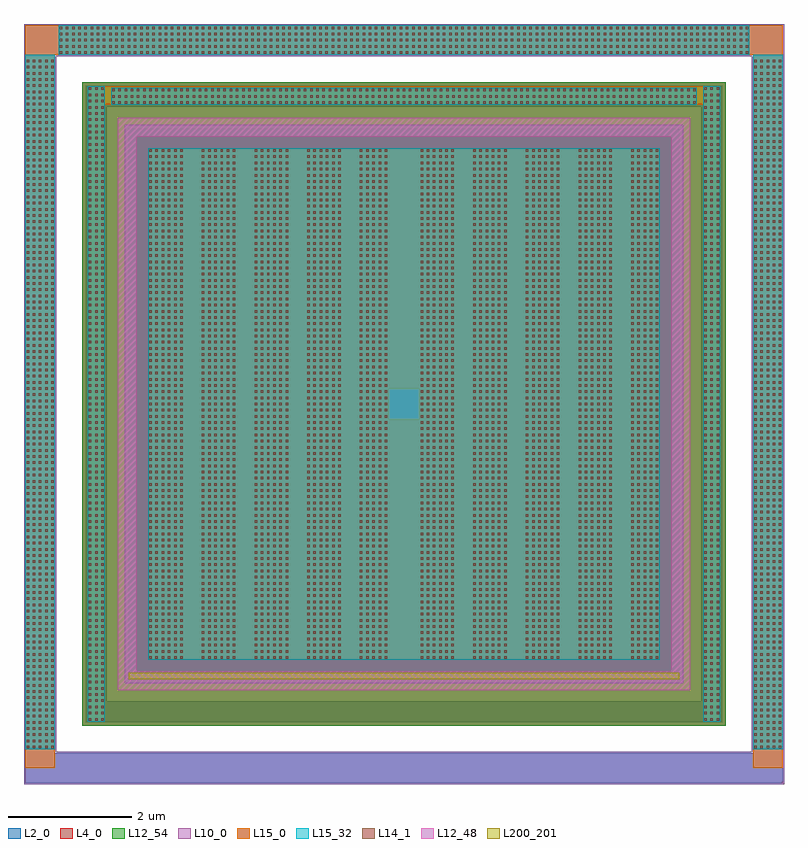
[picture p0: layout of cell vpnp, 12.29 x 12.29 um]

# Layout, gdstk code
import gdstk
lib = gdstk.Library(unit=1e-6, precision=1e-09)
def R(c, l, rs):  # rectangles x0, y0, x1, y1
    for r in rs: c.add(gdstk.rectangle(r[:2], r[2:], *l))
def A(c, l, x, y, w, h, nx, ny, dx, dy):  # array of equal rectangles
    R(c, l, [(x+i*dx, y+j*dy, x+i*dx+w, y+j*dy+h) for i in range(nx) for j in range(ny)])
L2_0 = (2, 0)
L4_0 = (4, 0)
L10_0 = (10, 0)
L12_48 = (12, 48)
L12_54 = (12, 54)
L14_1 = (14, 1)
L15_0 = (15, 0)
L15_32 = (15, 32)
L200_201 = (200, 201)

vpnp = lib.new_cell('vpnp')
R(vpnp, L2_0, [(-12.629,-4.659,-0.377,-4.179), (-12.629,-4.179,-12.149,7.113), (-0.857,-4.179,-0.377,7.113), (-11.649,-3.679,-1.357,-3.339), (-11.649,-3.339,-11.309,6.273), (-1.697,-3.339,-1.357,6.273), (-10.953,-2.983,-2.053,5.917), (-11.649,6.273,-1.357,6.613), (-12.629,7.113,-0.377,7.593)])
R(vpnp, L4_0, [(-11.705,-3.735,-1.301,6.669)])
R(vpnp, L10_0, [(-12.65,-4.68,-0.356,-4.158), (-12.65,-4.158,-12.128,7.092), (-0.878,-4.158,-0.356,7.092), (-11.023,-3.053,-1.983,5.987), (-12.65,7.092,-0.356,7.614)])
R(vpnp, L12_48, [(-11.134,-3.164,-1.872,-2.858), (-11.134,-2.858,-10.828,5.792), (-2.178,-2.858,-1.872,5.792), (-11.134,5.792,-1.872,6.098)])
R(vpnp, L12_54, [(-11.705,-3.735,-1.301,6.669)])
A(vpnp, L14_1, -12.609, -4.103, 0.04, 0.04, 5, 112, 0.1, 0.1)
A(vpnp, L14_1, -0.837, -4.103, 0.04, 0.04, 5, 112, 0.1, 0.1)
A(vpnp, L14_1, -11.599, -3.653, 0.04, 0.04, 3, 103, 0.1, 0.1)
A(vpnp, L14_1, -1.647, -3.653, 0.04, 0.04, 3, 103, 0.1, 0.1)
A(vpnp, L14_1, -10.623, -2.653, 0.04, 0.04, 6, 83, 0.1, 0.1)
A(vpnp, L14_1, -9.771, -2.653, 0.04, 0.04, 6, 83, 0.1, 0.1)
A(vpnp, L14_1, -8.919, -2.653, 0.04, 0.04, 6, 83, 0.1, 0.1)
A(vpnp, L14_1, -8.067, -2.653, 0.04, 0.04, 6, 83, 0.1, 0.1)
A(vpnp, L14_1, -7.215, -2.653, 0.04, 0.04, 5, 83, 0.1, 0.1)
A(vpnp, L14_1, -6.235, -2.653, 0.04, 0.04, 6, 83, 0.1, 0.1)
A(vpnp, L14_1, -5.383, -2.653, 0.04, 0.04, 6, 83, 0.1, 0.1)
A(vpnp, L14_1, -4.531, -2.653, 0.04, 0.04, 6, 83, 0.1, 0.1)
A(vpnp, L14_1, -3.679, -2.653, 0.04, 0.04, 6, 83, 0.1, 0.1)
A(vpnp, L14_1, -2.827, -2.653, 0.04, 0.04, 5, 83, 0.1, 0.1)
A(vpnp, L14_1, -11.223, 6.323, 0.04, 0.04, 95, 3, 0.1, 0.1)
A(vpnp, L14_1, -12.073, 7.133, 0.04, 0.04, 112, 5, 0.1, 0.1)
R(vpnp, L15_0, [(-12.627,-4.419,-12.151,7.591), (-0.855,-4.419,-0.379,7.591), (-11.617,-3.671,-11.341,6.605), (-1.665,-3.671,-1.389,6.605), (-10.641,-2.671,-2.365,1.217), (-10.641,1.217,-6.753,1.717), (-6.253,1.217,-2.365,1.717), (-10.641,1.717,-2.365,5.605), (-11.341,6.305,-1.665,6.605), (-12.151,7.115,-0.855,7.591)])
R(vpnp, L15_32, [(-12.627,-4.121,-12.151,7.115), (-0.855,-4.121,-0.379,7.115), (-11.617,-3.671,-11.341,6.605), (-1.665,-3.671,-1.389,6.605), (-10.641,-2.671,-2.365,5.605), (-11.241,6.305,-1.765,6.581), (-12.091,7.115,-0.915,7.591)])
R(vpnp, L200_201, [(-10.953,-2.983,-2.053,-2.883)])

lib.write_gds('vpnp.gds')
